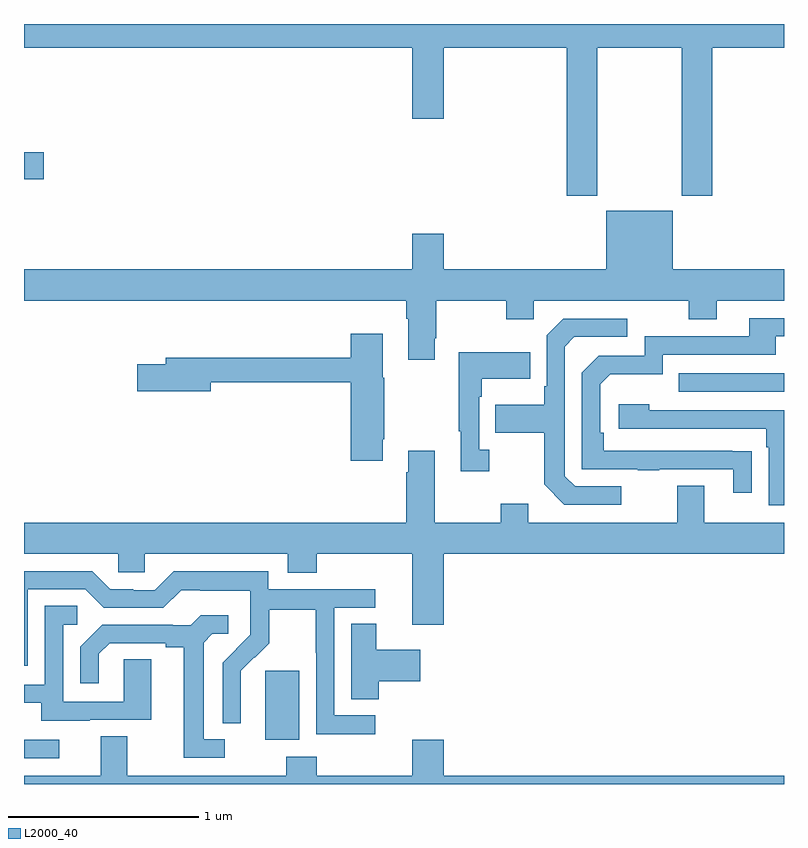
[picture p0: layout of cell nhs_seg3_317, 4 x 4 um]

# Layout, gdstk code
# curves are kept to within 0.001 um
import gdstk
lib = gdstk.Library(unit=1e-6, precision=1e-09)
def R(c, l, rs):  # rectangles x0, y0, x1, y1
    for r in rs: c.add(gdstk.rectangle(r[:2], r[2:], *l))
def P(c, l, *ps):  # polygons
    for p in ps: c.add(gdstk.Polygon(p, *l))
L2000_40 = (2000, 40)

nhs_seg3_317 = lib.new_cell('nhs_seg3_317')
R(nhs_seg3_317, L2000_40, [(127,670.536,127.186,670.632), (128.27,670.634,128.449,670.995), (130.447,672.465,131,672.561), (127,673.582,127.105,673.724)])
P(nhs_seg3_317, L2000_40, [(127,674.276),(129.044,674.276),(129.044,673.902),(129.208,673.902),(129.208,674.276),(129.857,674.276),(129.857,673.497),(130.017,673.497),(130.017,674.276),(130.462,674.276),(130.462,673.497),(130.622,673.497),(130.622,674.276),(131,674.276),(131,674.4),(127,674.4)],
  [(129.163,672.745),(129.171,672.745),(129.171,672.944),(129.538,672.944),(129.538,672.845),(129.684,672.845),(129.684,672.944),(130.498,672.944),(130.498,672.845),(130.645,672.845),(130.645,672.944),(131,672.944),(131,673.108),(130.414,673.108),(130.414,673.417),(130.064,673.417),(130.064,673.108),(129.208,673.108),(129.208,673.297),(129.044,673.297),(129.044,673.108),(127,673.108),(127,672.944),(129.011,672.944),(129.011,672.848),(129.023,672.848),(129.023,672.633),(129.163,672.633)],
  [(130.829,672.152),(130.052,672.153),(130.052,672.25),(130.032,672.25),(130.032,672.504),(130.085,672.557),(130.362,672.557),(130.362,672.66),(130.957,672.66),(130.957,672.756),(131,672.756),(131,672.852),(130.817,672.852),(130.817,672.756),(130.266,672.756),(130.266,672.654),(130.026,672.654),(129.936,672.564),(129.936,672.057),(130.231,672.057),(130.231,672.052),(130.343,672.052),(130.343,672.057),(130.733,672.057),(130.733,671.934),(130.829,671.934)],
  [(130.144,671.967),(129.9,671.967),(129.846,672.021),(129.846,672.702),(129.897,672.753),(130.174,672.753),(130.174,672.849),(129.837,672.849),(129.75,672.762),(129.75,672.493),(129.738,672.493),(129.738,672.397),(129.481,672.397),(129.481,672.25),(129.738,672.25),(129.738,671.977),(129.843,671.871),(130.144,671.871)],
  [(128.887,672.214),(128.895,672.214),(128.895,672.537),(128.887,672.537),(128.887,672.769),(128.72,672.769),(128.72,672.643),(127.745,672.643),(127.745,672.609),(127.596,672.609),(127.596,672.467),(127.984,672.467),(127.984,672.514),(128.72,672.514),(128.72,672.102),(128.887,672.102)],
  [(129.448,672.158),(129.396,672.158),(129.396,672.437),(129.409,672.437),(129.409,672.533),(129.665,672.533),(129.665,672.673),(129.288,672.673),(129.288,672.257),(129.299,672.257),(129.299,672.045),(129.448,672.045)],
  [(131,672.366),(130.292,672.366),(130.292,672.4),(130.131,672.4),(130.131,672.27),(130.907,672.27),(130.907,672.173),(130.92,672.173),(130.92,671.868),(131,671.868)],
  [(129.208,671.612),(131,671.612),(131,671.776),(130.579,671.776),(130.579,671.971),(130.439,671.971),(130.439,671.776),(129.655,671.776),(129.655,671.875),(129.508,671.875),(129.508,671.776),(129.163,671.776),(129.163,672.154),(129.023,672.154),(129.023,672.041),(129.011,672.041),(129.011,671.776),(127,671.776),(127,671.612),(127.497,671.612),(127.497,671.514),(127.635,671.514),(127.635,671.612),(128.387,671.612),(128.387,671.513),(128.54,671.513),(128.54,671.612),(129.044,671.612),(129.044,671.238),(129.208,671.238)],
  [(128.848,670.761),(128.634,670.761),(128.634,671.328),(128.848,671.328),(128.848,671.424),(128.286,671.424),(128.286,671.521),(127.789,671.521),(127.689,671.421),(127.574,671.421),(127.574,671.424),(127.455,671.424),(127.359,671.52),(127,671.52),(127,671.022),(127.02,671.022),(127.02,671.424),(127.323,671.424),(127.419,671.328),(127.734,671.328),(127.827,671.421),(127.927,671.421),(127.927,671.417),(128.19,671.417),(128.19,671.283),(128.192,671.283),(128.192,671.186),(128.046,671.038),(128.046,670.72),(128.142,670.72),(128.141,670.997),(128.211,671.067),(128.214,671.064),(128.291,671.141),(128.291,671.316),(128.536,671.316),(128.536,671.092),(128.538,671.092),(128.538,670.663),(128.848,670.663)],
  [(127.345,670.737),(127.669,670.737),(127.669,671.057),(127.524,671.057),(127.524,670.833),(127.206,670.833),(127.206,671.238),(127.279,671.238),(127.279,671.339),(127.11,671.339),(127.11,670.923),(127,670.923),(127,670.827),(127.091,670.827),(127.091,670.733),(127.345,670.733)],
  [(128.056,670.635),(127.945,670.635),(127.945,671.143),(127.992,671.19),(128.074,671.19),(128.074,671.287),(127.93,671.287),(127.878,671.235),(127.784,671.235),(127.784,671.238),(127.412,671.238),(127.296,671.122),(127.296,670.929),(127.393,670.929),(127.393,671.085),(127.45,671.142),(127.745,671.142),(127.745,671.12),(127.841,671.12),(127.841,670.539),(128.056,670.539)],
  [(128.867,670.942),(129.085,670.942),(129.085,671.107),(128.854,671.107),(128.854,671.243),(128.723,671.243),(128.723,670.846),(128.867,670.846)],
  [(131,670.444),(129.208,670.444),(129.208,670.633),(129.044,670.633),(129.044,670.444),(128.54,670.444),(128.54,670.543),(128.38,670.543),(128.38,670.444),(127.543,670.444),(127.543,670.652),(127.403,670.652),(127.403,670.444),(127,670.444),(127,670.4),(131,670.4)])

lib.write_gds('nhs_seg3_317.gds')
